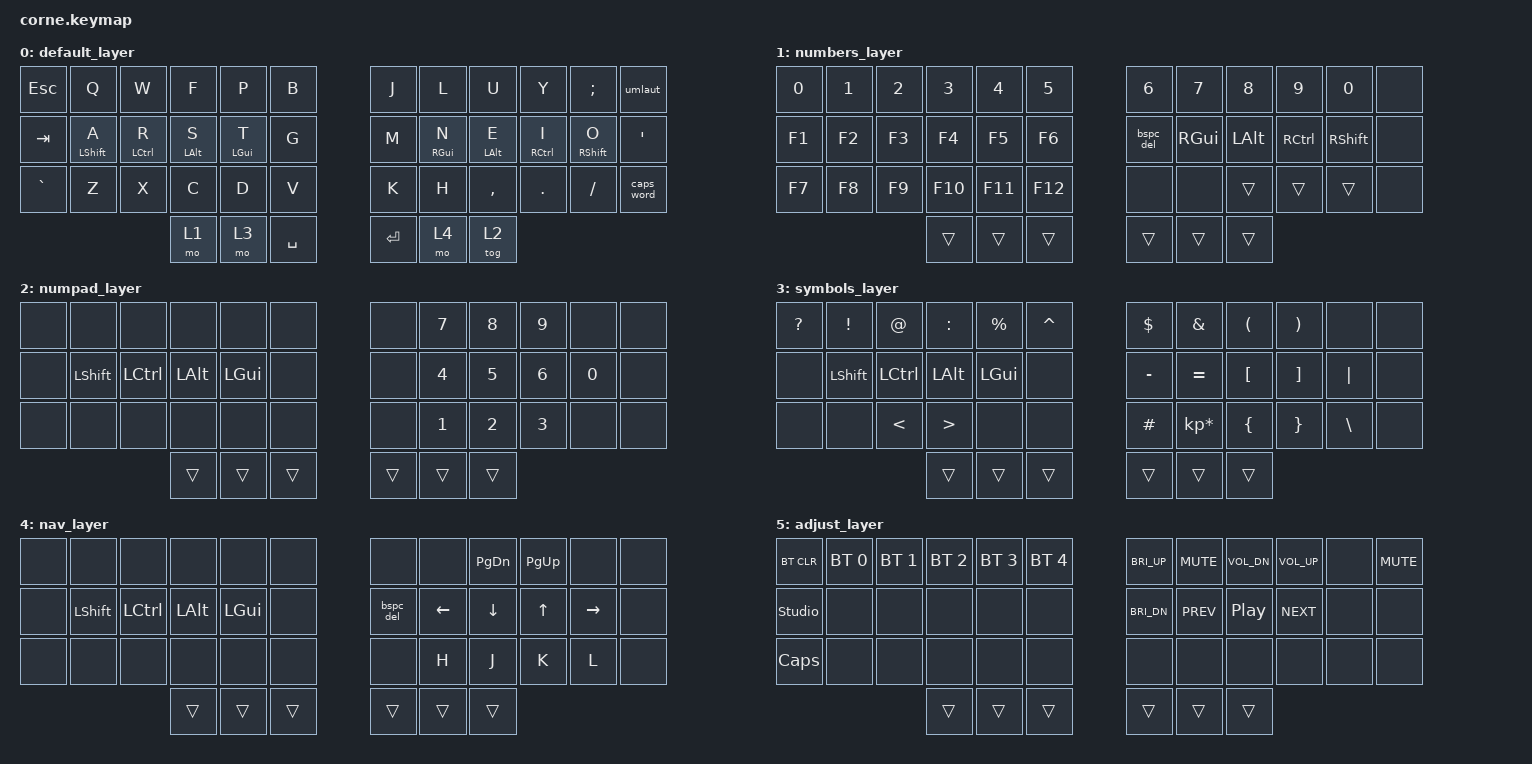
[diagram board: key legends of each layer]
/*
 * Copyright (c) 2020 The ZMK Contributors
 *
 * SPDX-License-Identifier: MIT
 */

#include <behaviors.dtsi>
#include <dt-bindings/zmk/bt.h>
#include <dt-bindings/zmk/keys.h>

#define DEFAULT 0
#define NUMBERS 1
#define SYMBOLS 2
#define NAV     3
#define ADJUST  4
#define NUMPAD  5

/ {
    conditional_layers {
        compatible = "zmk,conditional-layers";

        tri_layer {
            if-layers = <3 4>;
            then-layer = <5>;
        };
    };

    behaviors {
        // Home row mods: balanced + positional guard + hold-trigger-on-release.
        //
        //   balanced                    mods resolve as soon as the other key
        //                               is pressed and released -- no waiting
        //                               out the term, so they feel instant
        //   hold-trigger-key-positions  a hold needs the next key to be on the
        //                               opposite hand, so same-hand rolls like
        //                               "at" can never become Shift+T
        //   hold-trigger-on-release     defers that positional check to key
        //                               release, which is what lets two mods
        //                               on the SAME hand chord (Cmd+Shift+T).
        //                               Without it multi-mod hotkeys are not
        //                               awkward, they are impossible.
        //
        // Cost: a same-hand roll emits on release of the second key rather
        // than its press, so there is a small added latency there. Earlier
        // this felt laggy, but that run also had tapping-term-ms 280 and
        // require-prior-idle-ms; both are gone now.
        //
        // Tried and rejected:
        //   flavor "balanced" alone     -> any overlap misfires: "at" -> "T"
        //   flavor "tap-preferred"      -> mods need a full 200ms hold, too slow
        //   require-prior-idle-ms       -> fast space,A,I gave "ai" not "I"
        hml: homerow_mod_left {
            compatible = "zmk,behavior-hold-tap";
            #binding-cells = <2>;
            flavor = "balanced";
            tapping-term-ms = <200>;
            quick-tap-ms = <0>;
            bindings = <&kp>, <&kp>;
            hold-trigger-key-positions = <
                 6  7  8  9 10 11
                18 19 20 21 22 23
                30 31 32 33 34 35
                36 37 38 39 40 41
            >;
            hold-trigger-on-release;
        };

        hmr: homerow_mod_right {
            compatible = "zmk,behavior-hold-tap";
            #binding-cells = <2>;
            flavor = "balanced";
            tapping-term-ms = <200>;
            quick-tap-ms = <0>;
            bindings = <&kp>, <&kp>;
            hold-trigger-key-positions = <
                 0  1  2  3  4  5
                12 13 14 15 16 17
                24 25 26 27 28 29
                36 37 38 39 40 41
            >;
            hold-trigger-on-release;
        };

        bspc_del: backspace_delete {
            compatible = "zmk,behavior-mod-morph";
            #binding-cells = <0>;
            bindings = <&kp BACKSPACE>, <&kp DELETE>;

            mods = <(MOD_LSFT|MOD_RSFT)>;
            keep-mods = <(MOD_RSFT)>;
        };
    };

    macros {
        umlaut: umlaut {
            compatible = "zmk,behavior-macro";
            #binding-cells = <0>;
            bindings =
                <&macro_press>,
                <&kp RALT>,
                <&macro_tap>,
                <&kp U>,
                <&macro_release>,
                <&kp RALT>;
        };
    };

    keymap {
        compatible = "zmk,keymap";

        default_layer {
            // -----------------------------------------------------------------------------------------
            // | ESC |  Q  |  W  |  F  |  P  |  B  |   |  J  |  L  |  U  |  Y  |  ;  |  ¨  |
            // | TAB |  A  |  R  |  S  |  T  |  G  |   |  M  |  N  |  E  |  I  |  O  |  '  |
            // |  `  |  Z  |  X  |  C  |  D  |  V  |   |  K  |  H  |  ,  |  .  |  /  | CAPS|
            //                   | NAV | LWR | SPC |   | ENT | RSE | NAV |
            //
            // E holds LALT, not the mirrored RALT, on purpose: the terminal
            // needs a real left Alt, and RALT is reserved for &umlaut.

            bindings = <
&kp ESC    &kp Q          &kp W         &kp F        &kp P        &kp B        &kp J    &kp L        &kp U        &kp Y         &kp SEMI       &umlaut
&kp TAB    &hml LSHIFT A  &hml LCTRL R  &hml LALT S  &hml LGUI T  &kp G        &kp M    &hmr RGUI N  &hmr LALT E  &hmr RCTRL I  &hmr RSHIFT O  &kp SQT
&kp GRAVE  &kp Z          &kp X         &kp C        &kp D        &kp V        &kp K    &kp H        &kp COMMA    &kp DOT       &kp FSLH       &caps_word
                                        &mo 1        &mo 3        &kp SPACE    &kp RET  &mo 4        &tog 2
            >;
        };

        numbers_layer {
            // -----------------------------------------------------------------------------------------
            // |  0  |  1  |  2  |  3  |  4  |  5  |   |  6  |  7  |  8  |  9  |  0  |     |
            // | F1  | F2  | F3  | F4  | F5  | F6  |   |     |     |     |     |     |     |
            // | F7  | F8  | F9  | F10 | F11 | F12 |   |     |     |     |     |     |     |
            //                   |     |     |     |   |     |     |     |

            bindings = <
&kp N0  &kp N1  &kp N2  &kp N3   &kp N4   &kp N5     &kp N6     &kp N7    &kp N8    &kp N9     &kp N0      &none
&kp F1  &kp F2  &kp F3  &kp F4   &kp F5   &kp F6     &bspc_del  &kp RGUI  &kp LALT  &kp RCTRL  &kp RSHIFT  &none
&kp F7  &kp F8  &kp F9  &kp F10  &kp F11  &kp F12    &none      &none     &trans    &trans     &trans      &none
                        &trans   &trans   &trans     &trans     &trans    &trans
            >;
        };

        numpad_layer {
            // -----------------------------------------------------------------------------------------
            // |    |     |     |     |     |     |   |     |  7  |  8  |  9  |     |     |
            // |    |     |     |     |     |     |   | BSPC|  4  |  5  |  6  |  0  |     |
            // |    |     |     |     |     |     |   |     |  1  |  2  |  3  |     |     |
            //                  |     |     | SPC |   | ENT |     |     |

            bindings = <
&none  &none       &none      &none     &none     &none     &none   &kp N7  &kp N8  &kp N9  &none   &none
&none  &kp LSHIFT  &kp LCTRL  &kp LALT  &kp LGUI  &none     &none   &kp N4  &kp N5  &kp N6  &kp N0  &none
&none  &none       &none      &none     &none     &none     &none   &kp N1  &kp N2  &kp N3  &none   &none
                              &trans    &trans    &trans    &trans  &trans  &trans
            >;
        };

        symbols_layer {
            // -----------------------------------------------------------------------------------------
            // |  ?  |  !  |  @  |  :  |  %  |  ^  |   |  $  |  &  |  (  |  )  |     |     |
            // |     |     |     |     |     |     |   |  -  |  =  |  [  |  ]  | "|" |     |
            // |     |     |  <  |  >  |     |     |   |  #  |  *  |  {  |  }  |  \  |     |
            //                   |     |     |     |   |     |     |     |

            bindings = <
&kp QMARK  &kp EXCL    &kp AT     &kp COLON  &kp PRCNT  &kp CARET    &kp DLLR   &kp AMPS         &kp LPAR  &kp RPAR  &none     &none
&none      &kp LSHIFT  &kp LCTRL  &kp LALT   &kp LGUI   &none        &kp MINUS  &kp EQUAL        &kp LBKT  &kp RBKT  &kp PIPE  &none
&none      &none       &kp LT     &kp GT     &none      &none        &kp HASH   &kp KP_MULTIPLY  &kp LBRC  &kp RBRC  &kp BSLH  &none
                                  &trans     &trans     &trans       &trans     &trans           &trans
            >;
        };

        nav_layer {
            // -----------------------------------------------------------------------------------------
            // |     |     |     |     |     |     |   |     |     |PG_DN|PG_UP|     |     |
            // |     |     |     |     |     |     |   | BKSP| LEFT| DOWN|  UP |RIGHT|     |
            // |     |     |     |     |     |     |   |     |  H  |  J  |  K  |  L  |     |
            //                   |     |     | SPC |   | ENT |     |     |

            bindings = <
&none  &none       &none      &none     &none     &none     &none      &none     &kp PG_DN  &kp PG_UP  &none      &none
&none  &kp LSHIFT  &kp LCTRL  &kp LALT  &kp LGUI  &none     &bspc_del  &kp LEFT  &kp DOWN   &kp UP     &kp RIGHT  &none
&none  &none       &none      &none     &none     &none     &none      &kp H     &kp J      &kp K      &kp L      &none
                              &trans    &trans    &trans    &trans     &trans    &trans
            >;
        };

        adjust_layer {
            // -----------------------------------------------------------------------------------------
            // |BTCLR| BT1 | BT2 | BT3 | BT4 | BT5 |   |BR UP| MUT | V DN| V UP|     |     |
            // |UNLCK|     |     |     |     |     |   |BR DN| BCK | PLAY| FWD |     |     |
            // | CAPS|     |     |     |     |     |   |     |     |     |     |     |     |
            //                   |     |     | SPC |   | ENT |     |     |

            bindings = <
&bt BT_CLR      &bt BT_SEL 0  &bt BT_SEL 1  &bt BT_SEL 2  &bt BT_SEL 3  &bt BT_SEL 4    &kp C_BRI_UP  &kp K_MUTE  &kp C_VOL_DN  &kp C_VOL_UP  &none  &kp C_MUTE
&studio_unlock  &none         &none         &none         &none         &none           &kp C_BRI_DN  &kp C_PREV  &kp C_PP      &kp C_NEXT    &none  &none
&kp CAPSLOCK    &none         &none         &none         &none         &none           &none         &none       &none         &none         &none  &none
                                            &trans        &trans        &trans          &trans        &trans      &trans
            >;
        };
    };
};
